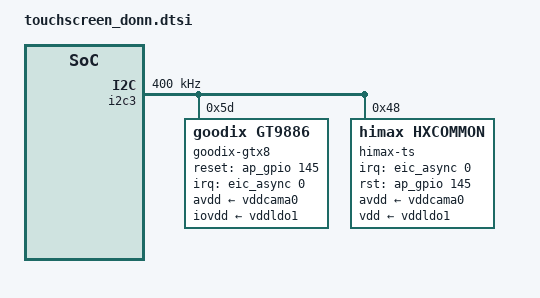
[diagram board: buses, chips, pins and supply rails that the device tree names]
&i2c3 {
	status = "okay";
	clock-frequency = <400000>;
	goodix-gtx8@5d {
	compatible = "goodix,gt9886";
	reg = <0x5d>;
	goodix,avdd-name = "avdd";
	avdd-supply = <&vddcama0>;
	goodix,iovdd-name = "iovdd";
	iovdd-supply = <&vddldo1>;
	goodix,power-on-delay-us = <800>;
	goodix,reset-gpio = <&ap_gpio 145 0>;
	goodix,irq-gpio = <&eic_async 0 0x2800>;
	goodix,irq-flags = <2>; /* 1:trigger rising, 2:trigger falling;*/
	goodix,panel-max-x = <1080>;
	goodix,panel-max-y = <2460>;
	goodix,panel-max-w = <255>;
	goodix,edge-suppress-cmd = <0x50 0x0 0x0 0x0 0x50	/* weakest */
				0x50 0x0 0x01 0x0 0x51
				0x50 0x0 0x02 0x0 0x52
				0x50 0x0 0x03 0x0 0x53	/* Strong */
				0x41 0x0 0x0 0x0 0x41	/* vertical */
				0x41 0x0 0x1 0x0 0x42	/* hor1 */
				0x41 0x0 0x2 0x0 0x43	/* hor2 */
				0x40 0x0 0x2 0x0 0x42	/* play game */
				0x40 0x0 0x1 0x0 0x41	/* close game */
				>;
	};
	himax-ts@48 {
		compatible = "himax,hxcommon";
		reg = <0x48>;
		avdd-supply = <&vddcama0>;
		vdd-supply = <&vddldo1>;
		himax,panel-coords = <0 1079 0 2459>;
		himax,display-coords = <0 1079 0 2459>;
		himax,irq-gpio = <&eic_async 0 0x2008>;
		himax,rst-gpio = <&ap_gpio 145 0>;
		report_type = <1>;
	};
};
